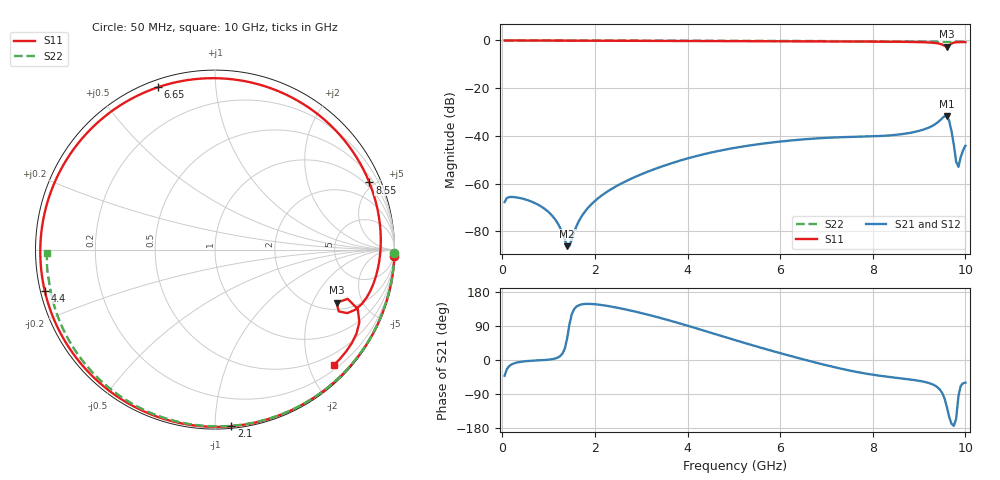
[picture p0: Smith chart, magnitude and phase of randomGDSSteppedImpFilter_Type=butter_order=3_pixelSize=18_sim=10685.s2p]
! freq	dB(S11)	phase(S11)	dB(S12)	phase(S12)
!  dB(S21)	phase(S21)	dB(S22)	phase(S22)
!S-par simulation data
#  GHz  S  DB  R 50
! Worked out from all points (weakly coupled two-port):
!   200 points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, 50 MHz to 10 GHz, reference 50 ohm
!   highest |S21| = -31.70 dB at 9.6 GHz (marker M1); lowest = -86.2 dB at 1.4 GHz (marker M2)
!   lowest |S11| = -2.6 dB at 9.6 GHz (marker M3), VSWR 6.67, Z = 118 - j154 ohm
!   |S11| at or under -10 dB: nowhere
!   |S22| runs from -0.6 to 0.0 dB; largest |S21 - S12| = 0
!   S11 on the Smith chart (normalised r, x): 50 MHz: 0, -54; 2.1 GHz: 0.01, -1.10; 4.4 GHz: 0.01, -0.12; 6.65 GHz: 0.03, +0.71; 8.55 GHz: 0.76, +4.69; 10 GHz: 0.28, -2.43
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0.05  -0.00 -2.1  -67.70 -41.6  -67.70 -41.6  -0.00 -1.0
0.2  -0.00 -8.5  -65.57 -11.7  -65.57 -11.7  -0.00 -4.0
0.7  -0.03 -29.4  -68.09 -1.5  -68.09 -1.5  -0.01 -14.1
1.4  -0.07 -57.7  -86.19 56.6  -86.19 56.6  -0.03 -28.0
1.55  -0.08 -63.6  -80.35 133.9  -80.35 133.9  -0.04 -30.9
1.75  -0.09 -71.4  -72.62 147.5  -72.62 147.5  -0.04 -34.8
2.1  -0.10 -84.7  -65.63 145.8  -65.63 145.8  -0.05 -41.6
3.4  -0.16 -131.7  -53.10 111.4  -53.10 111.4  -0.09 -65.9
4.4  -0.21 -166.5  -47.43 75.8  -47.43 75.8  -0.12 -83.8
5.05  -0.25 170.6  -44.89 51.6  -44.89 51.6  -0.15 -95.0
5.8  -0.30 143.0  -42.80 24.9  -42.80 24.9  -0.18 -107.7
6.65  -0.37 109.3  -41.22 -3.2  -41.22 -3.2  -0.24 -121.7
6.7  -0.37 107.3  -41.15 -4.7  -41.15 -4.7  -0.24 -122.6
7.5  -0.43 72.6  -40.43 -27.8  -40.43 -27.8  -0.30 -135.7
8.35  -0.52 33.1  -39.80 -44.7  -39.80 -44.7  -0.38 -149.8
8.55  -0.56 23.5  -39.44 -47.6  -39.44 -47.6  -0.40 -153.1
9.15  -0.78 -6.6  -36.97 -58.7  -36.97 -58.7  -0.48 -163.4
9.6  -2.63 -23.6  -31.70 -123.9  -31.70 -123.9  -0.53 -171.2
9.7  -1.30 -22.6  -37.96 -168.2  -37.96 -168.2  -0.52 -173.1
9.8  -0.75 -30.8  -50.76 -155.4  -50.76 -155.4  -0.54 -175.0
9.85  -0.69 -34.5  -52.97 -95.2  -52.97 -95.2  -0.55 -175.9
10  -0.69 -44.2  -44.14 -59.8  -44.14 -59.8  -0.57 -178.7
